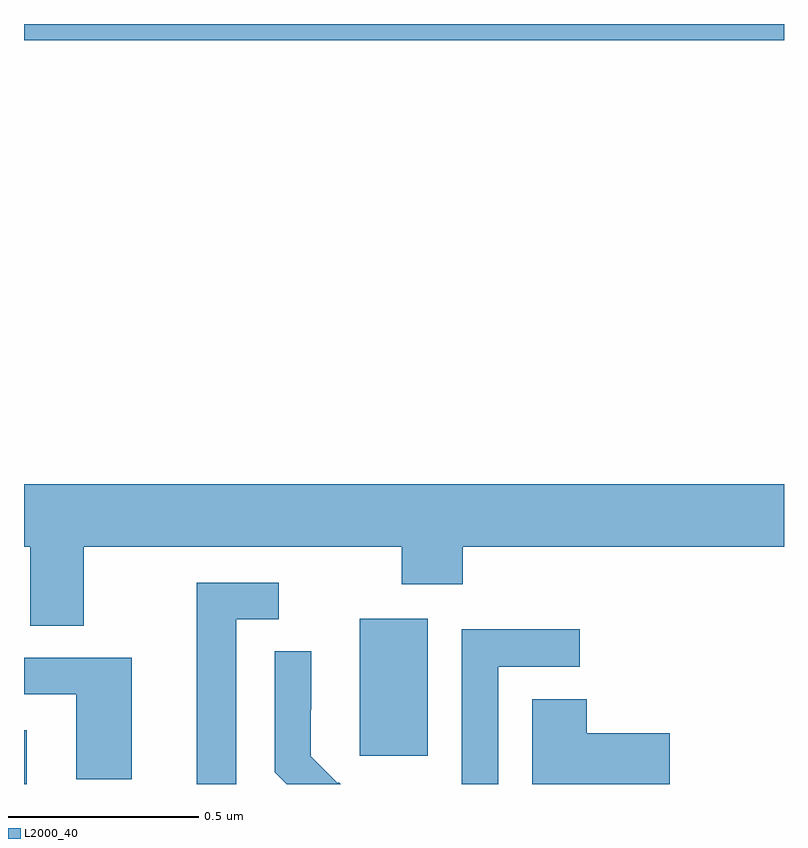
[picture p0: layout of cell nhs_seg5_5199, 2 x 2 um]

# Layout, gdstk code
import gdstk
lib = gdstk.Library(unit=1e-6, precision=1e-09)
def R(c, l, rs):  # rectangles x0, y0, x1, y1
    for r in rs: c.add(gdstk.rectangle(r[:2], r[2:], *l))
def P(c, l, *ps):  # polygons
    for p in ps: c.add(gdstk.Polygon(p, *l))
L2000_40 = (2000, 40)

nhs_seg5_5199 = lib.new_cell('nhs_seg5_5199')
R(nhs_seg5_5199, L2000_40, [(180,858.799,180.007,858.94), (180.884,858.873,181.063,859.234), (180,860.756,182,860.799)])
P(nhs_seg5_5199, L2000_40, [(180.157,859.424),(180.994,859.424),(180.994,859.325),(181.154,859.325),(181.154,859.424),(182,859.424),(182,859.588),(180,859.588),(180,859.424),(180.017,859.424),(180.017,859.216),(180.157,859.216)],
  [(180.559,859.233),(180.67,859.233),(180.67,859.329),(180.455,859.329),(180.455,858.799),(180.559,858.799)],
  [(181.248,859.107),(181.462,859.107),(181.462,859.206),(181.152,859.206),(181.152,858.799),(181.248,858.799)],
  [(180.828,858.804),(180.825,858.801),(180.755,858.872),(180.755,858.994),(180.756,858.994),(180.756,859.148),(180.66,859.148),(180.66,858.83),(180.691,858.799),(180.833,858.799)],
  [(180.283,859.131),(180,859.131),(180,859.035),(180.138,859.035),(180.138,858.811),(180.283,858.811)],
  [(181.699,858.932),(181.481,858.932),(181.481,859.022),(181.337,859.022),(181.337,858.799),(181.699,858.799)])

lib.write_gds('nhs_seg5_5199.gds')
